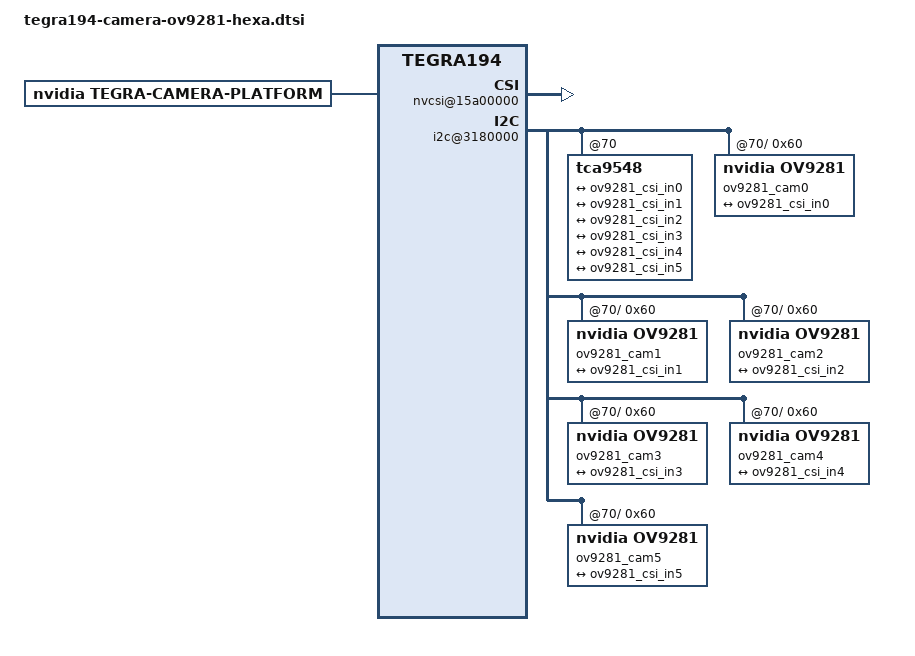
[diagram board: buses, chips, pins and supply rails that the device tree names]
/*
 * Copyright (c) 2015-2019, NVIDIA CORPORATION.  All rights reserved.
 *
 * This program is free software; you can redistribute it and/or modify
 * it under the terms of the GNU General Public License as published by
 * the Free Software Foundation; either version 2 of the License, or
 * (at your option) any later version.
 *
 * This program is distributed in the hope that it will be useful, but WITHOUT
 * ANY WARRANTY; without even the implied warranty of MERCHANTABILITY or
 * FITNESS FOR A PARTICULAR PURPOSE.  See the GNU General Public License for
 * more details.
 *
 * You should have received a copy of the GNU General Public License
 * along with this program.  If not, see <http://www.gnu.org/licenses/>.
 */

#include <dt-bindings/media/camera.h>
/ {
	tegra-capture-vi  {
			num-channels = <6>;
			ports {
				status="okay";
				#address-cells = <1>;
				#size-cells = <0>;
				port@0 {
					status="okay";
					reg = <0>;
					ov9281_vi_in0: endpoint {
						status="okay";
						port-index = <0>;
						bus-width = <2>;
						remote-endpoint = <&ov9281_csi_out0>;
					};
				};
				port@1 {
					status="okay";
					reg = <1>;
					ov9281_vi_in1: endpoint {
						status="okay";
						port-index = <2>;
						bus-width = <2>;
						remote-endpoint = <&ov9281_csi_out1>;
					};
				};
				port@2 {
					status="okay";
					reg = <2>;
					ov9281_vi_in2: endpoint {
						status="okay";
						port-index = <3>;
						bus-width = <2>;
						remote-endpoint = <&ov9281_csi_out2>;
					};
				};
				port@3 {
					status="okay";
					reg = <3>;
					ov9281_vi_in3: endpoint {
						status="okay";
						port-index = <4>;
						bus-width = <2>;
						remote-endpoint = <&ov9281_csi_out3>;
					};
				};
				port@4 {
					status="okay";
					reg = <4>;
					ov9281_vi_in4: endpoint {
						status="okay";
						port-index = <1>;
						bus-width = <2>;
						remote-endpoint = <&ov9281_csi_out4>;
					};
				};
				port@5 {
					status="okay";
					reg = <5>;
					ov9281_vi_in5: endpoint {
						status="okay";
						port-index = <5>;
						bus-width = <2>;
						remote-endpoint = <&ov9281_csi_out5>;
					};
				};				
			};
		
	};
	
	host1x@13e00000 {	
		nvcsi@15a00000 {
			num-channels = <6>;
			#address-cells = <1>;
			#size-cells = <0>;
			status="okay";
			channel@0 {
				reg = <0>;
				status="okay";
				ports {
					#address-cells = <1>;
					#size-cells = <0>;
					status="okay";
					port@0 {
						reg = <0>;
						status="okay";
						ov9281_csi_in0: endpoint@0 {
							status="okay";
							port-index = <0>;
							bus-width = <2>;
							remote-endpoint = <&ov9281_out0>;
						};
					};
					port@1 {
						reg = <1>;
						status="okay";
						ov9281_csi_out0: endpoint@1 {
							status="okay";
							remote-endpoint = <&ov9281_vi_in0>;
						};
					};
				};
			};
			channel@1 {
				reg = <1>;
				status="okay";
				ports {
					#address-cells = <1>;
					#size-cells = <0>;
					status="okay";
					port@0 {
						status="okay";
						reg = <0>;
						ov9281_csi_in1: endpoint@2 {
							status="okay";
							port-index = <2>;
							bus-width = <2>;
							remote-endpoint = <&ov9281_out1>;
						};
					};
					csi_chan1_port1: port@1 {
						reg = <1>;
						status="okay";
						ov9281_csi_out1: endpoint@3 {
							status="okay";
							remote-endpoint = <&ov9281_vi_in1>;
						};
					};
				};
			};
			channel@2 {
				reg = <2>;
				status="okay";
				ports {
					#address-cells = <1>;
					#size-cells = <0>;
					status="okay";
					port@0 {
						status="okay";
						reg = <0>;
						ov9281_csi_in2: endpoint@4 {
							status="okay";
							port-index = <3>;
							bus-width = <2>;
							remote-endpoint = <&ov9281_out2>;
						};
					};
					port@1 {
						status="okay";
						reg = <1>;
						ov9281_csi_out2: endpoint@5 {
							status="okay";
							remote-endpoint = <&ov9281_vi_in2>;
						};
					};
				};
			};
			channel@3 {
				reg = <3>;
				status="okay";
				ports {
					#address-cells = <1>;
					#size-cells = <0>;
					status="okay";
					port@0 {
						status="okay";
						reg = <0>;
						ov9281_csi_in3: endpoint@6 {
							status="okay";
							port-index = <4>;
							bus-width = <2>;
							remote-endpoint = <&ov9281_out3>;
						};
					};
					port@1 {
						status="okay";
						reg = <1>;
						ov9281_csi_out3: endpoint@7 {
							status="okay";
							remote-endpoint = <&ov9281_vi_in3>;
						};
					};
				};
			};
			channel@4 {
				reg = <4>;
				status="okay";
				ports {
					#address-cells = <1>;
					#size-cells = <0>;
					status="okay";
					port@0 {
						status="okay";
						reg = <0>;
						ov9281_csi_in4: endpoint@8 {
							status="okay";
							port-index = <1>;
							bus-width = <2>;
							remote-endpoint = <&ov9281_out4>;
						};
					};
					port@1 {
						status="okay";
						reg = <1>;
						ov9281_csi_out4: endpoint@9 {
							status="okay";
							remote-endpoint = <&ov9281_vi_in4>;
						};
					};
				};
			};
			channel@5 {
				reg = <5>;
				status="okay";
				ports {
					#address-cells = <1>;
					#size-cells = <0>;
					status="okay";
					port@0 {
						status="okay";
						reg = <0>;
						ov9281_csi_in5: endpoint@10 {
							status="okay";
							port-index = <6>;
							bus-width = <2>;
							remote-endpoint = <&ov9281_out5>;
						};
					};
					port@1 {
						status="okay";
						reg = <1>;
						ov9281_csi_out5: endpoint@11 {
							status="okay";
							remote-endpoint = <&ov9281_vi_in5>;
						};
					};
				};
			};
		};	
	};

	i2c@3180000{ 		
		tca9548@70 {			
			i2c@0 {	/*CSI A*/				
				ov9281_cam0: ov9281_a@60 {
					status="okay";
					compatible = "nvidia,ov9281";
					/* I2C device address */ 
					reg = <0x60>;
					/* V4L2 device node location */
					devnode = "video0";

					/* Physical dimensions of sensor */
                	physical_w = "3.680";
                	physical_h = "2.760";

					sensor_model = "ov9281";
					use_sensor_mode_id = "true";					
					fsync = "slave-trigger"; /*none/slave-trigger*/

					mode0 { /* OV9281_MODE_1280x800 */						
						mclk_khz = "26000";						
						num_lanes = "2";
						tegra_sinterface = "serial_a";
						phy_mode = "DPHY";
						discontinuous_clk = "no";
						dpcm_enable = "false";
						cil_settletime = "0";
						active_w = "1280";
						active_h = "800";	
						pixel_t = "gray";
						csi_pixel_bit_depth = "10";

						readout_orientation = "90";
						line_length = "1408";											
						inherent_gain = "1";		
						mclk_multiplier = "7.69";	// mclk_multiplier = pix_clk_hx/mclk						
						pix_clk_hz = "200000000"; //800mbps*2lines/8bit per pixel

						gain_factor = "1";
						framerate_factor = "1";
						exposure_factor = "1";
						min_gain_val = "16"; 
						max_gain_val = "250"; 
						step_gain_val = "1";
						default_gain = "16"; /* 1.0x real gain */
						min_framerate = "5"; /* ? fps */
						max_framerate = "156"; 
						step_framerate = "1";
						default_framerate = "156"; /* 120.0 fps */
						min_exp_time = "19"; 
						max_exp_time = "14300"; 
						step_exp_time = "1";
						default_exp_time = "10896"; 

						embedded_metadata_height = "0";
					};
					mode1 { /* OV9281_MODE_1280x720 */
						mclk_khz = "26000";						
						num_lanes = "2";
						tegra_sinterface = "serial_a";
						phy_mode = "DPHY";
						discontinuous_clk = "no";
						dpcm_enable = "false";
						cil_settletime = "0";

						active_w = "1280";
						active_h = "720";	
						pixel_t = "gray";

						readout_orientation = "90";
						line_length = "1408";											
						inherent_gain = "1";		
						mclk_multiplier = "7.69";					
						pix_clk_hz = "200000000";
						csi_pixel_bit_depth = "10";

						gain_factor = "1";
						framerate_factor = "1";
						exposure_factor = "1";
						min_gain_val = "16"; 
						max_gain_val = "250"; 
						step_gain_val = "1";
						default_gain = "16"; /* 1.0x real gain */
						min_framerate = "5"; /* ? fps */
						max_framerate = "156"; 
						step_framerate = "1";
						default_framerate = "156"; /* 120.0 fps */
						min_exp_time = "19"; 
						max_exp_time = "14300";
						step_exp_time = "1";
						default_exp_time = "10896";

						embedded_metadata_height = "0";
					};
					mode2 { /* OV9281_MODE_640x400 */
						mclk_khz = "26000";						
						num_lanes = "2";
						tegra_sinterface = "serial_a";
						phy_mode = "DPHY";
						discontinuous_clk = "no";
						dpcm_enable = "false";
						cil_settletime = "0";
						csi_pixel_bit_depth = "10";

						active_w = "640";
						active_h = "400";	
						pixel_t = "gray";

						readout_orientation = "90";
						line_length = "1408";											
						inherent_gain = "1";		
						mclk_multiplier = "7.69";					
						pix_clk_hz = "200000000";

						gain_factor = "1";
						framerate_factor = "1";
						exposure_factor = "1";
						min_gain_val = "16"; 
						max_gain_val = "250"; 
						step_gain_val = "1";
						default_gain = "16"; /* 1.0x real gain */
						min_framerate = "5"; /* ? fps */
						max_framerate = "274"; 
						step_framerate = "1";
						default_framerate = "274"; /* 120.0 fps */
						min_exp_time = "19"; 
						max_exp_time = "23488"; //was 8120 $((32*253 + 31));  23488 = $(((32*734) + 0))
						step_exp_time = "1";
						default_exp_time = "6189";

						embedded_metadata_height = "0";
					};
					ports {
						#address-cells = <1>;
						#size-cells = <0>;
						status="okay";

						port@0 {
							reg = <0>;
							status="okay";
							ov9281_out0: endpoint {
								status="okay";
								port-index = <0>;
								bus-width = <2>;
								remote-endpoint = <&ov9281_csi_in0>;
							};
						};
					};
				};
			};
			i2c@1 {  /*CSI C*/				 	
				ov9281_cam1: ov9281_c@60 {
					status="okay";
					compatible = "nvidia,ov9281";
					/* I2C device address */ 
					reg = <0x60>;
					/* V4L2 device node location */
					devnode = "video1";

					/* Physical dimensions of sensor */
                	physical_w = "3.680";
                	physical_h = "2.760";

					sensor_model = "ov9281";
					use_sensor_mode_id = "true";
					fsync = "slave-trigger"; /*none/slave-trigger*/

					mode0 { /* OV9281_MODE_1280x800 */						
						mclk_khz = "26000";						
						num_lanes = "2";
						tegra_sinterface = "serial_c";
						phy_mode = "DPHY";
						discontinuous_clk = "no";
						dpcm_enable = "false";
						cil_settletime = "0";
						csi_pixel_bit_depth = "10";

						active_w = "1280";
						active_h = "800";	
						pixel_t = "gray";

						readout_orientation = "90";
						line_length = "1408";											
						inherent_gain = "1";		
						mclk_multiplier = "7.69";						
						pix_clk_hz = "200000000";

						gain_factor = "1";
						framerate_factor = "1";
						exposure_factor = "1";
						min_gain_val = "16"; 
						max_gain_val = "250"; 
						step_gain_val = "1";
						default_gain = "16"; /* 1.0x real gain */
						min_framerate = "5"; /* ? fps */
						max_framerate = "156"; 
						step_framerate = "1";
						default_framerate = "156"; /* 120.0 fps */
						min_exp_time = "19"; 
						max_exp_time = "14300"; 
						step_exp_time = "1";
						default_exp_time = "10896";

						embedded_metadata_height = "0";
					};
					mode1 { /* OV9281_MODE_1280x720 */
						mclk_khz = "26000";						
						num_lanes = "2";
						tegra_sinterface = "serial_c";
						phy_mode = "DPHY";
						discontinuous_clk = "no";
						dpcm_enable = "false";
						cil_settletime = "0";
						csi_pixel_bit_depth = "10";

						active_w = "1280";
						active_h = "720";	
						pixel_t = "gray";

						readout_orientation = "90";
						line_length = "1408";											
						inherent_gain = "1";		
						mclk_multiplier = "7.69";					
						pix_clk_hz = "200000000";

						gain_factor = "1";
						framerate_factor = "1";
						exposure_factor = "1";
						min_gain_val = "16"; 
						max_gain_val = "250"; 
						step_gain_val = "1";
						default_gain = "16"; /* 1.0x real gain */
						min_framerate = "5"; /* ? fps */
						max_framerate = "156"; 
						step_framerate = "1";
						default_framerate = "156"; /* 120.0 fps */
						min_exp_time = "19"; 
						max_exp_time = "14300"; 
						step_exp_time = "1";
						default_exp_time = "10896";

						embedded_metadata_height = "0";
					};
					mode2 { /* OV9281_MODE_640x400 */
						mclk_khz = "26000";						
						num_lanes = "2";
						tegra_sinterface = "serial_c";
						phy_mode = "DPHY";
						discontinuous_clk = "no";
						dpcm_enable = "false";
						cil_settletime = "0";
						csi_pixel_bit_depth = "10";

						active_w = "640";
						active_h = "400";	
						pixel_t = "gray";

						readout_orientation = "90";
						line_length = "1408";											
						inherent_gain = "1";		
						mclk_multiplier = "7.69";					
						pix_clk_hz = "200000000";

						gain_factor = "1";
						framerate_factor = "1";
						exposure_factor = "1";
						min_gain_val = "16"; 
						max_gain_val = "250"; 
						step_gain_val = "1";
						default_gain = "16"; /* 1.0x real gain */
						min_framerate = "5"; /* ? fps */
						max_framerate = "274"; 
						step_framerate = "1";
						default_framerate = "274"; /* 120.0 fps */
						min_exp_time = "19"; 
						max_exp_time = "23488"; //was 8120 $((32*253 + 31));  23488 = $(((32*734) + 0))
						step_exp_time = "1";
						default_exp_time = "6189";

						embedded_metadata_height = "0";
					};
					ports {
						#address-cells = <1>;
						#size-cells = <0>;
						status="okay";

						port@0 {
							reg = <0>;
							status="okay";
							ov9281_out1: endpoint {
								status="okay";
								port-index = <2>;
								bus-width = <2>;
								remote-endpoint = <&ov9281_csi_in1>;
							};
						};
					};
				};
			};
			i2c@2 {	/*CSI B*/		
				ov9281_cam2: ov9281_d@60 {
					status="okay";
					compatible = "nvidia,ov9281";
					/* I2C device address */ 
					reg = <0x60>;
					/* V4L2 device node location */
					devnode = "video2";

					/* Physical dimensions of sensor */
                	physical_w = "3.680";
                	physical_h = "2.760";

					sensor_model = "ov9281";
					use_sensor_mode_id = "true";
					fsync = "none"; /*none/slave-trigger*/

					mode0 { /* OV9281_MODE_1280x800 */						
						mclk_khz = "26000";						
						num_lanes = "2";
						tegra_sinterface = "serial_d";
						phy_mode = "DPHY";
						discontinuous_clk = "no";
						dpcm_enable = "false";
						cil_settletime = "0";
						csi_pixel_bit_depth = "10";

						active_w = "1280";
						active_h = "800";	
						pixel_t = "gray";

						readout_orientation = "90";
						line_length = "1408";											
						inherent_gain = "1";		
						mclk_multiplier = "7.69";						
						pix_clk_hz = "200000000";

						gain_factor = "1";
						framerate_factor = "1";
						exposure_factor = "1";
						min_gain_val = "16"; 
						max_gain_val = "250"; 
						step_gain_val = "1";
						default_gain = "16"; /* 1.0x real gain */
						min_framerate = "5"; /* ? fps */
						max_framerate = "156"; 
						step_framerate = "1";
						default_framerate = "156"; /* 120.0 fps */
						min_exp_time = "19"; 
						max_exp_time = "14300"; 
						step_exp_time = "1";
						default_exp_time = "10896";

						embedded_metadata_height = "0";
					};
					mode1 { /* OV9281_MODE_1280x720 */
						mclk_khz = "26000";						
						num_lanes = "2";
						tegra_sinterface = "serial_d";
						phy_mode = "DPHY";
						discontinuous_clk = "no";
						dpcm_enable = "false";
						cil_settletime = "0";
						csi_pixel_bit_depth = "10";

						active_w = "1280";
						active_h = "720";	
						pixel_t = "gray";

						readout_orientation = "90";
						line_length = "1408";											
						inherent_gain = "1";		
						mclk_multiplier = "7.69";					
						pix_clk_hz = "200000000";

						gain_factor = "1";
						framerate_factor = "1";
						exposure_factor = "1";
						min_gain_val = "16"; 
						max_gain_val = "250"; 
						step_gain_val = "1";
						default_gain = "16"; /* 1.0x real gain */
						min_framerate = "5"; /* ? fps */
						max_framerate = "156"; 
						step_framerate = "1";
						default_framerate = "156"; /* 120.0 fps */
						min_exp_time = "19"; 
						max_exp_time = "14300"; 
						step_exp_time = "1";
						default_exp_time = "10896";

						embedded_metadata_height = "0";
					};
					mode2 { /* OV9281_MODE_640x400 */
						mclk_khz = "26000";						
						num_lanes = "2";
						tegra_sinterface = "serial_d";
						phy_mode = "DPHY";
						discontinuous_clk = "no";
						dpcm_enable = "false";
						cil_settletime = "0";
						csi_pixel_bit_depth = "10";

						active_w = "640";
						active_h = "400";	
						pixel_t = "gray";

						readout_orientation = "90";
						line_length = "1408";											
						inherent_gain = "1";		
						mclk_multiplier = "7.69";					
						pix_clk_hz = "200000000";

						gain_factor = "1";
						framerate_factor = "1";
						exposure_factor = "1";
						min_gain_val = "16"; 
						max_gain_val = "250"; 
						step_gain_val = "1";
						default_gain = "16"; /* 1.0x real gain */
						min_framerate = "5"; /* ? fps */
						max_framerate = "274"; 
						step_framerate = "1";
						default_framerate = "274"; /* 120.0 fps */
						min_exp_time = "19"; 
						max_exp_time = "23488"; //was 8120 $((32*253 + 31));  23488 = $(((32*734) + 0))
						step_exp_time = "1";
						default_exp_time = "6189";

						embedded_metadata_height = "0";
					};
					ports {
						#address-cells = <1>;
						#size-cells = <0>;
						status="okay";

						port@0 {
							status="okay";
							reg = <0>;
							ov9281_out2: endpoint {
								status="okay";
								port-index = <3>;
								bus-width = <2>;
								remote-endpoint = <&ov9281_csi_in2>;
							};
						};
					};
				};
			};
			i2c@3 {	/*CSI D*/			
				ov9281_cam3: ov9281_e@60 {
					status="okay";
					compatible = "nvidia,ov9281";
					/* I2C device address */ 
					reg = <0x60>;
					/* V4L2 device node location */
					devnode = "video3";

					/* Physical dimensions of sensor */
                	physical_w = "3.680";
                	physical_h = "2.760";

					sensor_model = "ov9281";
					use_sensor_mode_id = "true";
					fsync = "none"; /*none/slave-trigger*/

					mode0 { /* OV9281_MODE_1280x800 */						
						mclk_khz = "26000";						
						num_lanes = "2";
						tegra_sinterface = "serial_e";
						phy_mode = "DPHY";
						discontinuous_clk = "no";
						dpcm_enable = "false";
						cil_settletime = "0";
						csi_pixel_bit_depth = "10";

						active_w = "1280";
						active_h = "800";	
						pixel_t = "gray";

						readout_orientation = "90";
						line_length = "1408";											
						inherent_gain = "1";		
						mclk_multiplier = "7.69";						
						pix_clk_hz = "200000000";

						gain_factor = "1";
						framerate_factor = "1";
						exposure_factor = "1";
						min_gain_val = "16"; 
						max_gain_val = "250"; 
						step_gain_val = "1";
						default_gain = "16"; /* 1.0x real gain */
						min_framerate = "5"; /* ? fps */
						max_framerate = "156"; 
						step_framerate = "1";
						default_framerate = "156"; /* 120.0 fps */
						min_exp_time = "19"; 
						max_exp_time = "14300"; 
						step_exp_time = "1";
						default_exp_time = "10896";

						embedded_metadata_height = "0";
					};
					mode1 { /* OV9281_MODE_1280x720 */
						mclk_khz = "26000";						
						num_lanes = "2";
						tegra_sinterface = "serial_e";
						phy_mode = "DPHY";
						discontinuous_clk = "no";
						dpcm_enable = "false";
						cil_settletime = "0";
						csi_pixel_bit_depth = "10";

						active_w = "1280";
						active_h = "720";	
						pixel_t = "gray";

						readout_orientation = "90";
						line_length = "1408";											
						inherent_gain = "1";		
						mclk_multiplier = "7.69";					
						pix_clk_hz = "200000000";

						gain_factor = "1";
						framerate_factor = "1";
						exposure_factor = "1";
						min_gain_val = "16"; 
						max_gain_val = "250"; 
						step_gain_val = "1";
						default_gain = "16"; /* 1.0x real gain */
						min_framerate = "5"; /* ? fps */
						max_framerate = "156"; 
						step_framerate = "1";
						default_framerate = "156"; /* 120.0 fps */
						min_exp_time = "19"; 
						max_exp_time = "14300"; 
						step_exp_time = "1";
						default_exp_time = "10896";

						embedded_metadata_height = "0";
					};
					mode2 { /* OV9281_MODE_640x400 */
						mclk_khz = "26000";						
						num_lanes = "2";
						tegra_sinterface = "serial_e";
						phy_mode = "DPHY";
						discontinuous_clk = "no";
						dpcm_enable = "false";
						cil_settletime = "0";
						csi_pixel_bit_depth = "10";

						active_w = "640";
						active_h = "400";	
						pixel_t = "gray";

						readout_orientation = "90";
						line_length = "1408";											
						inherent_gain = "1";		
						mclk_multiplier = "7.69";					
						pix_clk_hz = "200000000";

						gain_factor = "1";
						framerate_factor = "1";
						exposure_factor = "1";
						min_gain_val = "16"; 
						max_gain_val = "250"; 
						step_gain_val = "1";
						default_gain = "16"; /* 1.0x real gain */
						min_framerate = "5"; /* ? fps */
						max_framerate = "274"; 
						step_framerate = "1";
						default_framerate = "274"; /* 120.0 fps */
						min_exp_time = "19"; 
						max_exp_time = "23488"; //was 8120 $((32*253 + 31));  23488 = $(((32*734) + 0))
						step_exp_time = "1";
						default_exp_time = "6189";

						embedded_metadata_height = "0";
					};
					ports {
						#address-cells = <1>;
						#size-cells = <0>;
						status="okay";

						port@0 {
							status="okay";
							reg = <0>;
							ov9281_out3: endpoint {
								status="okay";
								port-index = <4>;
								bus-width = <2>;
								remote-endpoint = <&ov9281_csi_in3>;
							};
						};
					};
				};
			};
			i2c@4 {	/*CSI F*/				
				ov9281_cam4: ov9281_b@60 {
					status="okay";
					compatible = "nvidia,ov9281";
					/* I2C device address */ 
					reg = <0x60>;
					/* V4L2 device node location */
					devnode = "video4";

					/* Physical dimensions of sensor */
                	physical_w = "3.680";
                	physical_h = "2.760";

					sensor_model = "ov9281";
					use_sensor_mode_id = "true";
					fsync = "slave-trigger"; /*none/slave-trigger*/

					mode0 { /* OV9281_MODE_1280x800 */						
						mclk_khz = "26000";						
						num_lanes = "2";
						tegra_sinterface = "serial_b";
						phy_mode = "DPHY";
						discontinuous_clk = "no";
						dpcm_enable = "false";
						cil_settletime = "0";
						csi_pixel_bit_depth = "10";

						active_w = "1280";
						active_h = "800";	
						pixel_t = "gray";

						readout_orientation = "90";
						line_length = "1408";											
						inherent_gain = "1";		
						mclk_multiplier = "7.69";						
						pix_clk_hz = "200000000";

						gain_factor = "1";
						framerate_factor = "1";
						exposure_factor = "1";
						min_gain_val = "16"; 
						max_gain_val = "250"; 
						step_gain_val = "1";
						default_gain = "16"; /* 1.0x real gain */
						min_framerate = "5"; /* ? fps */
						max_framerate = "156"; 
						step_framerate = "1";
						default_framerate = "156"; /* 120.0 fps */
						min_exp_time = "19"; 
						max_exp_time = "14300"; 
						step_exp_time = "1";
						default_exp_time = "10896";

						embedded_metadata_height = "0";
					};
					mode1 { /* OV9281_MODE_1280x720 */
						mclk_khz = "26000";						
						num_lanes = "2";
						tegra_sinterface = "serial_b";
						phy_mode = "DPHY";
						discontinuous_clk = "no";
						dpcm_enable = "false";
						cil_settletime = "0";
						csi_pixel_bit_depth = "10";

						active_w = "1280";
						active_h = "720";	
						pixel_t = "gray";

						readout_orientation = "90";
						line_length = "1408";											
						inherent_gain = "1";		
						mclk_multiplier = "7.69";					
						pix_clk_hz = "200000000";

						gain_factor = "1";
						framerate_factor = "1";
						exposure_factor = "1";
						min_gain_val = "16"; 
						max_gain_val = "250"; 
						step_gain_val = "1";
						default_gain = "16"; /* 1.0x real gain */
						min_framerate = "5"; /* ? fps */
						max_framerate = "156"; 
						step_framerate = "1";
						default_framerate = "156"; /* 120.0 fps */
						min_exp_time = "19"; 
						max_exp_time = "14300"; 
						step_exp_time = "1";
						default_exp_time = "10896";

						embedded_metadata_height = "0";
					};
					mode2 { /* OV9281_MODE_640x400 */
						mclk_khz = "26000";						
						num_lanes = "2";
						tegra_sinterface = "serial_b";
						phy_mode = "DPHY";
						discontinuous_clk = "no";
						dpcm_enable = "false";
						cil_settletime = "0";
						csi_pixel_bit_depth = "10";

						active_w = "640";
						active_h = "400";	
						pixel_t = "gray";

						readout_orientation = "90";
						line_length = "1408";											
						inherent_gain = "1";		
						mclk_multiplier = "7.69";					
						pix_clk_hz = "200000000";

						gain_factor = "1";
						framerate_factor = "1";
						exposure_factor = "1";
						min_gain_val = "16"; 
						max_gain_val = "250"; 
						step_gain_val = "1";
						default_gain = "16"; /* 1.0x real gain */
						min_framerate = "5"; /* ? fps */
						max_framerate = "274"; 
						step_framerate = "1";
						default_framerate = "274"; /* 120.0 fps */
						min_exp_time = "19"; 
						max_exp_time = "23488"; //was 8120 $((32*253 + 31));  23488 = $(((32*734) + 0))
						step_exp_time = "1";
						default_exp_time = "6189";

						embedded_metadata_height = "0";
					};
					ports {
						#address-cells = <1>;
						#size-cells = <0>;
						status="okay";

						port@0 {
							reg = <0>;
							status="okay";
							ov9281_out4: endpoint {
								status="okay";
								port-index = <1>;
								bus-width = <2>;
								remote-endpoint = <&ov9281_csi_in4>;
							};
						};
					};
				};
			};
			i2c@5 {	/*CSI E*/		
				ov9281_cam5: ov9281_g@60 {
					status="okay";
					compatible = "nvidia,ov9281";
					/* I2C device address */ 
					reg = <0x60>;
					/* V4L2 device node location */
					devnode = "video5";

					/* Physical dimensions of sensor */
                	physical_w = "3.680";
                	physical_h = "2.760";

					sensor_model = "ov9281";
					use_sensor_mode_id = "true";
					fsync = "slave-trigger"; /*none/slave-trigger*/

					mode0 { /* OV9281_MODE_1280x800 */						
						mclk_khz = "26000";						
						num_lanes = "2";
						tegra_sinterface = "serial_g";
						phy_mode = "DPHY";
						discontinuous_clk = "no";
						dpcm_enable = "false";
						cil_settletime = "0";
						csi_pixel_bit_depth = "10";

						active_w = "1280";
						active_h = "800";	
						pixel_t = "gray";

						readout_orientation = "90";
						line_length = "1408";											
						inherent_gain = "1";		
						mclk_multiplier = "7.69";						
						pix_clk_hz = "200000000";

						gain_factor = "1";
						framerate_factor = "1";
						exposure_factor = "1";
						min_gain_val = "16"; 
						max_gain_val = "250"; 
						step_gain_val = "1";
						default_gain = "16"; /* 1.0x real gain */
						min_framerate = "5"; /* ? fps */
						max_framerate = "156"; 
						step_framerate = "1";
						default_framerate = "156"; /* 120.0 fps */
						min_exp_time = "19"; 
						max_exp_time = "14300"; 
						step_exp_time = "1";
						default_exp_time = "10896";

						embedded_metadata_height = "0";
					};
					mode1 { /* OV9281_MODE_1280x720 */
						mclk_khz = "26000";						
						num_lanes = "2";
						tegra_sinterface = "serial_g";
						phy_mode = "DPHY";
						discontinuous_clk = "no";
						dpcm_enable = "false";
						cil_settletime = "0";
						csi_pixel_bit_depth = "10";

						active_w = "1280";
						active_h = "720";	
						pixel_t = "gray";

						readout_orientation = "90";
						line_length = "1408";											
						inherent_gain = "1";		
						mclk_multiplier = "7.69";					
						pix_clk_hz = "200000000";

						gain_factor = "1";
						framerate_factor = "1";
						exposure_factor = "1";
						min_gain_val = "16"; 
						max_gain_val = "250"; 
						step_gain_val = "1";
						default_gain = "16"; /* 1.0x real gain */
						min_framerate = "5"; /* ? fps */
						max_framerate = "156"; 
						step_framerate = "1";
						default_framerate = "156"; /* 120.0 fps */
						min_exp_time = "19"; 
						max_exp_time = "14300"; 
						step_exp_time = "1";
						default_exp_time = "10896";

						embedded_metadata_height = "0";
					};
					mode2 { /* OV9281_MODE_640x400 */
						mclk_khz = "26000";						
						num_lanes = "2";
						tegra_sinterface = "serial_g";
						phy_mode = "DPHY";
						discontinuous_clk = "no";
						dpcm_enable = "false";
						cil_settletime = "0";
						csi_pixel_bit_depth = "10";

						active_w = "640";
						active_h = "400";	
						pixel_t = "gray";

						readout_orientation = "90";
						line_length = "1408";											
						inherent_gain = "1";		
						mclk_multiplier = "7.69";					
						pix_clk_hz = "200000000";

						gain_factor = "1";
						framerate_factor = "1";
						exposure_factor = "1";
						min_gain_val = "16"; 
						max_gain_val = "250"; 
						step_gain_val = "1";
						default_gain = "16"; /* 1.0x real gain */
						min_framerate = "5"; /* ? fps */
						max_framerate = "274"; 
						step_framerate = "1";
						default_framerate = "274"; /* 120.0 fps */
						min_exp_time = "19"; 
						max_exp_time = "23488"; //was 8120 $((32*253 + 31));  23488 = $(((32*734) + 0))
						step_exp_time = "1";
						default_exp_time = "6189";

						embedded_metadata_height = "0";
					};					
					ports {
						#address-cells = <1>;
						#size-cells = <0>;
						status="okay";

						port@0 {
							reg = <0>;
							status="okay";
							ov9281_out5: endpoint {
								status="okay";
								port-index = <5>;
								bus-width = <2>;
								remote-endpoint = <&ov9281_csi_in5>;
						};
					};
				};
				};
			};
		};		
	};	
};

/ {
	tegra-camera-platform {
		compatible = "nvidia, tegra-camera-platform";	
		/**
		* Physical settings to calculate max ISO BW
		*
		* num_csi_lanes = <>;
		* Total number of CSI lanes when all cameras are active
		*
		* max_lane_speed = <>;
		* Max lane speed in Kbit/s
		*
		* min_bits_per_pixel = <>;
		* Min bits per pixel
		*
		* vi_peak_byte_per_pixel = <>;
		* Max byte per pixel for the VI ISO case
		*
		* vi_bw_margin_pct = <>;
		* Vi bandwidth margin in percentage
		*
		* max_pixel_rate = <>;
		* Max pixel rate in Kpixel/s for the ISP ISO case
		* Set this to the highest pix_clk_hz out of all available modes.
		*
		* isp_peak_byte_per_pixel = <>;
		* Max byte per pixel for the ISP ISO case
		*
		* isp_bw_margin_pct = <>;
		* Isp bandwidth margin in percentage
		*/
		num_csi_lanes = <12>;
		max_lane_speed = <800000>;
		min_bits_per_pixel = <8>;
		vi_peak_byte_per_pixel = <2>;
		vi_bw_margin_pct = <25>;
		max_pixel_rate = <200000>;
		isp_peak_byte_per_pixel = <5>;
		isp_bw_margin_pct = <25>;

		/**
		* The general guideline for naming badge_info contains 3 parts, and is as follows,
		* The first part is the camera_board_id for the module; if the module is in a FFD
		* platform, then use the platform name for this part.
		* The second part contains the position of the module, ex. “rear” or “front”.
		* The third part contains the last 6 characters of a part number which is found
		* in the module's specsheet from the vender.
		*/
		modules { 
			status="okay";
			module0 {
				badge = "jakku_bottomright_AVOV9281";
				position = "bottomright";
				orientation = "1";
				status="okay";
				drivernode0 {
					status="okay";
					pcl_id = "v4l2_sensor";
					devname = "ov9281 30-0060";
					proc-device-tree = "/proc/device-tree/i2c@3180000/tca9548@70/i2c@0/ov9281_a@60"; 
				};
			};
			module1 {
				badge = "jakku_centerright_AVOV9281";
				position = "centerright";
				orientation = "1";
				status="okay";
				drivernode0 {
					status="okay";
					pcl_id = "v4l2_sensor";
					devname = "ov9281 31-0060";
					proc-device-tree = "/proc/device-tree/i2c@3180000/tca9548@70/i2c@1/ov9281_c@60";
				};
			};
			module2 {
				badge = "jakku_bottomleft_AVOV9281";
				position = "bottomleft";
				orientation = "1";
				status="okay";
				drivernode0 {
					status="okay";
					pcl_id = "v4l2_sensor";
					devname = "ov9281 32-0060";
					proc-device-tree = "/proc/device-tree/i2c@3180000/tca9548@70/i2c@2/ov9281_d@60";
				};
			};
			module3 {
				badge = "jakku_centerleft_AVOV9281";
				position = "centerleft";
				orientation = "1";
				status="okay";
				drivernode0 {
					status="okay";
					pcl_id = "v4l2_sensor";
					devname = "ov9281 33-0060";
					proc-device-tree = "/proc/device-tree/i2c@3180000/tca9548@70/i2c@3/ov9281_e@60";
				};
			};
			module4 {
				badge = "jakku_topright_AVOV9281";
				position = "topright";
				orientation = "1";
				status="okay";
				drivernode0 {
					status="okay";
					pcl_id = "v4l2_sensor";
					devname = "ov9281 34-0060";
					proc-device-tree = "/proc/device-tree/i2c@3180000/tca9548@70/i2c@4/ov9281_b@60";
				};
			};
			module5 {
				badge = "jakku_topleft_AVOV9281";
				position = "topleft";
				orientation = "1";
				status="okay";
				drivernode0 {
					status="okay";
					pcl_id = "v4l2_sensor";
					devname = "ov9281 35-0060";
					proc-device-tree = "/proc/device-tree/i2c@3180000/tca9548@70/i2c@5/ov9281_g@60";
				};
			};
		};
	};
};



		
